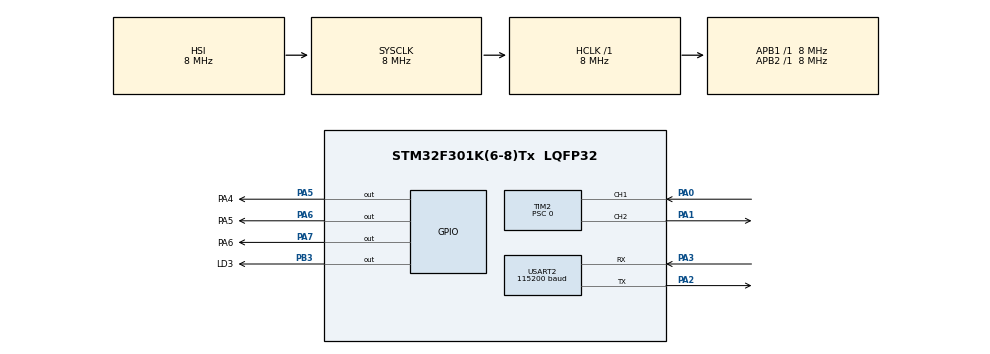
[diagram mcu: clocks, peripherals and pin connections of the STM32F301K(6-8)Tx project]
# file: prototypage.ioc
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Mcu.Family=STM32F3
Mcu.Name=STM32F301K(6-8)Tx
Mcu.Package=LQFP32
NVIC.PriorityGroup=NVIC_PRIORITYGROUP_4
NVIC.TIM2_IRQn=true\:0\:0\:false\:false\:true\:true\:true\:true
NVIC.USART2_IRQn=true\:0\:0\:false\:false\:true\:true\:true\:true
PA0.Signal=S_TIM2_CH1_ETR
PA1.GPIO_PuPd=GPIO_NOPULL
PA1.GPIO_Speed=GPIO_SPEED_FREQ_LOW
PA1.Signal=S_TIM2_CH2
PA2.Mode=Asynchronous
PA2.Signal=USART2_TX
PA3.Mode=Asynchronous
PA3.Signal=USART2_RX
PA5.GPIO_Label=PA4
PA5.Signal=GPIO_Output
PA6.GPIO_Label=PA5
PA6.Signal=GPIO_Output
PA7.GPIO_Label=PA6
PA7.Signal=GPIO_Output
PB3.GPIO_Label=LD3
PB3.GPIO_PuPd=GPIO_NOPULL
PB3.GPIO_Speed=GPIO_SPEED_FREQ_LOW
PB3.Signal=GPIO_Output
PF0-OSC_IN.Mode=HSE-External-Oscillator
PF0-OSC_IN.Signal=RCC_OSC_IN
PF1-OSC_OUT.Mode=HSE-External-Oscillator
PF1-OSC_OUT.Signal=RCC_OSC_OUT
ProjectManager.HeapSize=0x200
ProjectManager.StackSize=0x400
ProjectManager.TargetToolchain=STM32CubeIDE
RCC.AHBFreq_Value=8000000
RCC.APB1Freq_Value=8000000
RCC.APB2Freq_Value=8000000
RCC.CortexFreq_Value=8000000
RCC.HSE_VALUE=8000000
RCC.HSI_VALUE=8000000
RCC.SYSCLKFreq_VALUE=8000000
SH.S_TIM2_CH1_ETR.0=TIM2_CH1,Input_Capture1_from_TI1
SH.S_TIM2_CH2.0=TIM2_CH2,PWM Generation2 CH2
TIM2.AutoReloadPreload=TIM_AUTORELOAD_PRELOAD_ENABLE
TIM2.Channel-Input_Capture1_from_TI1=TIM_CHANNEL_1
TIM2.Channel-PWM\ Generation2\ CH2=TIM_CHANNEL_2
TIM2.Period=65535
TIM2.Prescaler=0
USART2.BaudRate=115200
USART2.VirtualMode-Asynchronous=VM_ASYNC
VP_TIM2_VS_ClockSourceINT.Mode=Internal
board=custom

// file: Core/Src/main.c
/* USER CODE BEGIN Header */
/**
  ******************************************************************************
  * @file           : main.c
  * @brief          : Main program body
  ******************************************************************************
  * @attention
  *
  * Copyright (c) 2022 STMicroelectronics.
  * All rights reserved.
  *
  * This software is licensed under terms that can be found in the LICENSE file
  * in the root directory of this software component.
  * If no LICENSE file comes with this software, it is provided AS-IS.
  *
  ******************************************************************************
  */
/* USER CODE END Header */
#include "main.h"

 TIM_HandleTypeDef htim2;

UART_HandleTypeDef huart2;

void SystemClock_Config(void);
static void MX_GPIO_Init(void);
static void MX_TIM2_Init(void);
static void MX_USART2_UART_Init(void);

/* USER CODE BEGIN 0 */

volatile uint8_t T1_captured = 0;
volatile uint8_t gu8_MSG[35] = {'\0'};
volatile uint32_t T1 = 0;
volatile uint32_t T2 = 0;
volatile uint32_t Frequence = 30000;
volatile uint32_t T_dede = 0;
void gestion_sortie(void);
void HAL_TIM_IC_CaptureCallback(TIM_HandleTypeDef* htim);
volatile float alpha = 0.1;
volatile uint32_t T_PWM = 10;
volatile uint32_t CH2_DC = 0;
/* USER CODE END 0 */

int main(void)
{

  /* MCU Configuration--------------------------------------------------------*/

  /* Reset of all peripherals, Initializes the Flash interface and the Systick. */
-   HAL_Init();

  /* Configure the system clock */
  SystemClock_Config();

  /* Initialize all configured peripherals */
  MX_GPIO_Init();
  MX_TIM2_Init();
  MX_USART2_UART_Init();
  /* USER CODE BEGIN 2 */
  // RAJOUT
  HAL_TIM_Base_Start_IT(&htim2);
  HAL_TIM_IC_Start_IT(&htim2, TIM_CHANNEL_1);
  HAL_TIM_PWM_Start(&htim2, TIM_CHANNEL_2);
  /* USER CODE END 2 */

  /* Infinite loop */
  while (1)
  {

    /* USER CODE BEGIN 3 */
	  gestion_sortie();

  }
  /* USER CODE END 3 */
}

void SystemClock_Config(void)
{
  RCC_OscInitTypeDef RCC_OscInitStruct = {0};
  RCC_ClkInitTypeDef RCC_ClkInitStruct = {0};

  /** Initializes the RCC Oscillators according to the specified parameters
  * in the RCC_OscInitTypeDef structure.
  */
  RCC_OscInitStruct.OscillatorType = RCC_OSCILLATORTYPE_HSI;
  RCC_OscInitStruct.HSIState = RCC_HSI_ON;
  RCC_OscInitStruct.HSICalibrationValue = RCC_HSICALIBRATION_DEFAULT;
  RCC_OscInitStruct.PLL.PLLState = RCC_PLL_NONE;
  if (HAL_RCC_OscConfig(&RCC_OscInitStruct) != HAL_OK)
  {
    Error_Handler();
  }

  /** Initializes the CPU, AHB and APB buses clocks
  */
  RCC_ClkInitStruct.ClockType = RCC_CLOCKTYPE_HCLK|RCC_CLOCKTYPE_SYSCLK
                              |RCC_CLOCKTYPE_PCLK1|RCC_CLOCKTYPE_PCLK2;
  RCC_ClkInitStruct.SYSCLKSource = RCC_SYSCLKSOURCE_HSI;
  RCC_ClkInitStruct.AHBCLKDivider = RCC_SYSCLK_DIV1;
  RCC_ClkInitStruct.APB1CLKDivider = RCC_HCLK_DIV1;
  RCC_ClkInitStruct.APB2CLKDivider = RCC_HCLK_DIV1;

  if (HAL_RCC_ClockConfig(&RCC_ClkInitStruct, FLASH_LATENCY_0) != HAL_OK)
  {
    Error_Handler();
  }
}

static void MX_TIM2_Init(void)
{

  TIM_ClockConfigTypeDef sClockSourceConfig = {0};
  TIM_MasterConfigTypeDef sMasterConfig = {0};
  TIM_IC_InitTypeDef sConfigIC = {0};
  TIM_OC_InitTypeDef sConfigOC = {0};

  htim2.Instance = TIM2;
  htim2.Init.Prescaler = 0;
  htim2.Init.CounterMode = TIM_COUNTERMODE_UP;
  htim2.Init.Period = 65535;
  htim2.Init.ClockDivision = TIM_CLOCKDIVISION_DIV1;
  htim2.Init.AutoReloadPreload = TIM_AUTORELOAD_PRELOAD_ENABLE;
  if (HAL_TIM_Base_Init(&htim2) != HAL_OK)
  {
    Error_Handler();
  }
  sClockSourceConfig.ClockSource = TIM_CLOCKSOURCE_INTERNAL;
  if (HAL_TIM_ConfigClockSource(&htim2, &sClockSourceConfig) != HAL_OK)
  {
    Error_Handler();
  }
  if (HAL_TIM_IC_Init(&htim2) != HAL_OK)
  {
    Error_Handler();
  }
  if (HAL_TIM_PWM_Init(&htim2) != HAL_OK)
  {
    Error_Handler();
  }
  sMasterConfig.MasterOutputTrigger = TIM_TRGO_RESET;
  sMasterConfig.MasterSlaveMode = TIM_MASTERSLAVEMODE_DISABLE;
  if (HAL_TIMEx_MasterConfigSynchronization(&htim2, &sMasterConfig) != HAL_OK)
  {
    Error_Handler();
  }
  sConfigIC.ICPolarity = TIM_INPUTCHANNELPOLARITY_RISING;
  sConfigIC.ICSelection = TIM_ICSELECTION_DIRECTTI;
  sConfigIC.ICPrescaler = TIM_ICPSC_DIV1;
  sConfigIC.ICFilter = 0;
  if (HAL_TIM_IC_ConfigChannel(&htim2, &sConfigIC, TIM_CHANNEL_1) != HAL_OK)
  {
    Error_Handler();
  }
  sConfigOC.OCMode = TIM_OCMODE_PWM1;
  sConfigOC.Pulse = 0;
  sConfigOC.OCPolarity = TIM_OCPOLARITY_HIGH;
  sConfigOC.OCFastMode = TIM_OCFAST_DISABLE;
  if (HAL_TIM_PWM_ConfigChannel(&htim2, &sConfigOC, TIM_CHANNEL_2) != HAL_OK)
  {
    Error_Handler();
  }
  HAL_TIM_MspPostInit(&htim2);

}

static void MX_USART2_UART_Init(void)
{

  huart2.Instance = USART2;
  huart2.Init.BaudRate = 115200;
  huart2.Init.WordLength = UART_WORDLENGTH_8B;
  huart2.Init.StopBits = UART_STOPBITS_1;
  huart2.Init.Parity = UART_PARITY_NONE;
  huart2.Init.Mode = UART_MODE_TX_RX;
  huart2.Init.HwFlowCtl = UART_HWCONTROL_NONE;
  huart2.Init.OverSampling = UART_OVERSAMPLING_16;
  huart2.Init.OneBitSampling = UART_ONE_BIT_SAMPLE_DISABLE;
  huart2.AdvancedInit.AdvFeatureInit = UART_ADVFEATURE_NO_INIT;
  if (HAL_UART_Init(&huart2) != HAL_OK)
  {
    Error_Handler();
  }

}

static void MX_GPIO_Init(void)
{
  GPIO_InitTypeDef GPIO_InitStruct = {0};

  /* GPIO Ports Clock Enable */
  __HAL_RCC_GPIOF_CLK_ENABLE();
  __HAL_RCC_GPIOA_CLK_ENABLE();
  __HAL_RCC_GPIOB_CLK_ENABLE();

  /*Configure GPIO pin Output Level */
  HAL_GPIO_WritePin(GPIOA, PA4_Pin|PA5_Pin|PA6_Pin, GPIO_PIN_RESET);

  /*Configure GPIO pin Output Level */
  HAL_GPIO_WritePin(LD3_GPIO_Port, LD3_Pin, GPIO_PIN_RESET);

  /*Configure GPIO pins : PA4_Pin PA5_Pin PA6_Pin */
  GPIO_InitStruct.Pin = PA4_Pin|PA5_Pin|PA6_Pin;
  GPIO_InitStruct.Mode = GPIO_MODE_OUTPUT_PP;
  GPIO_InitStruct.Pull = GPIO_NOPULL;
  GPIO_InitStruct.Speed = GPIO_SPEED_FREQ_LOW;
  HAL_GPIO_Init(GPIOA, &GPIO_InitStruct);

  /*Configure GPIO pin : LD3_Pin */
  GPIO_InitStruct.Pin = LD3_Pin;
  GPIO_InitStruct.Mode = GPIO_MODE_OUTPUT_PP;
  GPIO_InitStruct.Pull = GPIO_NOPULL;
  GPIO_InitStruct.Speed = GPIO_SPEED_FREQ_LOW;
  HAL_GPIO_Init(LD3_GPIO_Port, &GPIO_InitStruct);

}

/* USER CODE BEGIN 4 */

void HAL_TIM_IC_CaptureCallback(TIM_HandleTypeDef* htim)
{

    if(T1_captured == 0)
    {
    	T1 = HAL_TIM_ReadCapturedValue(&htim2, TIM_CHANNEL_1);
        T1_captured = 1;
    }
    else if(T1_captured == 1)
    {
        T2 = HAL_TIM_ReadCapturedValue(&htim2, TIM_CHANNEL_1);

        if(T2 > T1)
        {
          Frequence = HAL_RCC_GetPCLK1Freq()/(T2 - T1);
          sprintf(gu8_MSG, "Frequency = %lu Hz\n\r", Frequence);
          HAL_UART_Transmit(&huart2, gu8_MSG, sizeof(gu8_MSG), 100);
        }
        T1_captured = 0;

    }
}
/*
	 // Code pour un éventuel PWM en sortie - a garde ici

	if(Frequence > 20000){

		HAL_GPIO_WritePin(GPIOA, PA7_Pin, 1);
		HAL_Delay(20);
		HAL_GPIO_WritePin(GPIOA, PA7_Pin, 0);
		HAL_Delay(20);
	}

	else if(Frequence > 10000 && Frequence < 15000){
		HAL_GPIO_WritePin(GPIOA, PA5_Pin, 1);
		HAL_Delay(20);
		HAL_GPIO_WritePin(GPIOA, PA5_Pin, 0);
		HAL_Delay(20);
	}

	else if(Frequence < 9000){
		HAL_GPIO_WritePin(GPIOA, PA4_Pin, 1);
		HAL_Delay(20);
		HAL_GPIO_WritePin(GPIOA, PA4_Pin, 0);
		HAL_Delay(20);
	}
*/

/*
	TIM2->CCR2 = 3600;
	HAL_Delay(200);
    TIM2->CCR2 = 11500;
    HAL_Delay(200);
    TIM2->CCR2 = 19000;
    HAL_Delay(200);

    while(CH2_DC < 19000)
    {
        TIM2->CCR2 = CH2_DC;
        CH2_DC += 50;
        HAL_Delay(1);
    }
    while(CH2_DC > 3600)
    {
        TIM2->CCR2 = CH2_DC;
        CH2_DC -= 50;
        HAL_Delay(1);
    }
*/

/*
    T_PWM = 50;
    alpha = 0.1;
*/
/*

	HAL_GPIO_WritePin(GPIOA, PA4_Pin, 1);
	HAL_Delay(alpha*T_PWM);
	HAL_GPIO_WritePin(GPIOA, PA4_Pin, 0);
	HAL_Delay((1-alpha)*T_PWM);
*/

/*
	HAL_GPIO_WritePin(GPIOA, PA5_Pin, 1);
	HAL_Delay(alpha*T_PWM);
	HAL_GPIO_WritePin(GPIOA, PA5_Pin, 0);
	HAL_Delay((1-alpha)*T_PWM);
*/

/*
	HAL_GPIO_WritePin(GPIOA, PA4_Pin, 1);
	HAL_Delay(Frequence/100000);
	HAL_GPIO_WritePin(GPIOA, PA4_Pin, 0);
	HAL_Delay(Frequence/100000);
*/

/*
	alpha =  abs(0.5 - (Frequence-6500)/((30000-6500)*2));
	alpha = 0.2;

	HAL_GPIO_WritePin(GPIOA, PA4_Pin, GPIO_PIN_SET);
	HAL_Delay(alpha*20);
	HAL_GPIO_WritePin(GPIOA, PA4_Pin, GPIO_PIN_RESET);
	HAL_Delay((1-alpha)*20);
*/

void gestion_sortie(void){

	if(Frequence > 11000){

		T_PWM = 20;
	}

	else if(Frequence > 8200 && Frequence < 10000){
		T_PWM = 20;
	}

	else if(Frequence < 8000){
		T_PWM = 20;
	}

	alpha = 0.1;

	HAL_GPIO_WritePin(GPIOA, PA4_Pin, 1);
	HAL_Delay(alpha*T_PWM);
	HAL_GPIO_WritePin(GPIOA, PA4_Pin, 0);
	HAL_Delay((1-alpha)*T_PWM);

}
/* USER CODE END 4 */

void Error_Handler(void)
{
  __disable_irq();
  while (1)
  {
  }
}
